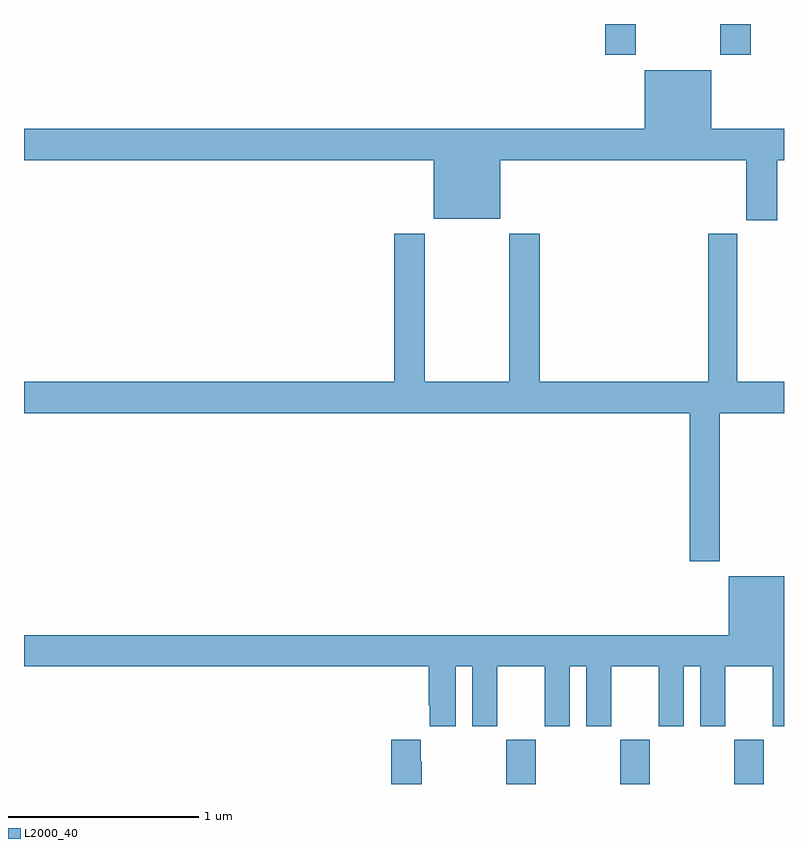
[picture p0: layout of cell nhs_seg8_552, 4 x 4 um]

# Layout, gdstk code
import gdstk
lib = gdstk.Library(unit=1e-6, precision=1e-09)
def R(c, l, rs):  # rectangles x0, y0, x1, y1
    for r in rs: c.add(gdstk.rectangle(r[:2], r[2:], *l))
def A(c, l, x, y, w, h, nx, ny, dx, dy):  # array of equal rectangles
    R(c, l, [(x+i*dx, y+j*dy, x+i*dx+w, y+j*dy+h) for i in range(nx) for j in range(ny)])
def P(c, l, *ps):  # polygons
    for p in ps: c.add(gdstk.Polygon(p, *l))
L2000_40 = (2000, 40)

nhs_seg8_552 = lib.new_cell('nhs_seg8_552')
A(nhs_seg8_552, L2000_40, 149.539, 1095.9, 0.155, 0.232, 3, 1, 0.6, 0)
R(nhs_seg8_552, L2000_40, [(150.059,1099.737,150.219,1099.9), (150.664,1099.737,150.824,1099.9)])
P(nhs_seg8_552, L2000_40, [(150.964,1099.184),(151,1099.184),(151,1099.348),(150.616,1099.348),(150.616,1099.657),(150.266,1099.657),(150.266,1099.348),(147,1099.348),(147,1099.184),(149.156,1099.184),(149.156,1098.875),(149.506,1098.875),(149.506,1099.184),(150.8,1099.184),(150.8,1098.867),(150.964,1098.867)],
  [(150.663,1097.852),(151,1097.852),(151,1098.016),(150.754,1098.016),(150.754,1098.795),(150.602,1098.795),(150.602,1098.016),(149.714,1098.016),(149.714,1098.796),(149.554,1098.796),(149.554,1098.016),(149.109,1098.016),(149.109,1098.796),(148.949,1098.796),(148.949,1098.016),(147,1098.016),(147,1097.852),(150.503,1097.852),(150.503,1097.073),(150.663,1097.073)],
  [(149.272,1096.52),(149.36,1096.52),(149.36,1096.203),(149.491,1096.203),(149.491,1096.52),(149.741,1096.52),(149.741,1096.203),(149.872,1096.203),(149.872,1096.52),(149.96,1096.52),(149.96,1096.203),(150.091,1096.203),(150.091,1096.52),(150.341,1096.52),(150.341,1096.203),(150.472,1096.203),(150.472,1096.52),(150.56,1096.52),(150.56,1096.203),(150.691,1096.203),(150.691,1096.52),(150.941,1096.52),(150.941,1096.203),(151,1096.203),(151,1096.993),(150.71,1096.993),(150.71,1096.684),(147,1096.684),(147,1096.52),(149.129,1096.52),(149.129,1096.315),(149.135,1096.315),(149.135,1096.203),(149.272,1096.203)],
  [(149.094,1096.019),(149.089,1096.019),(149.089,1096.132),(148.934,1096.132),(148.934,1095.9),(149.094,1095.9)])

lib.write_gds('nhs_seg8_552.gds')
